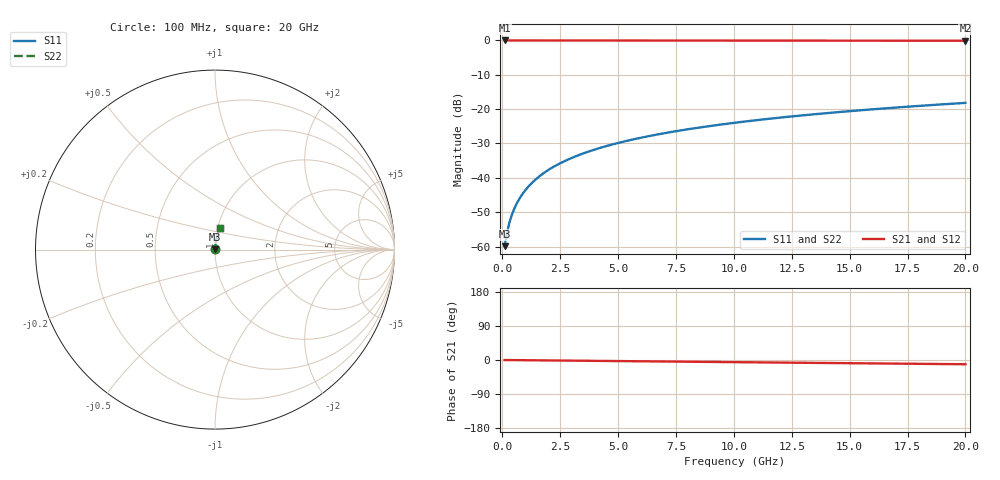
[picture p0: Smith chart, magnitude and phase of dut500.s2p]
! Touchstone file exported from HFSS 2026.1.0
!  File:  C:/ffzhzh/LocalFiles/Ansys_Project_Files/temp_train_BSMRDL_500_1783014174_53980.aedt
!  Generated:  01:44:15 AM Jul  3, 2026
!  Design:  BSMRDL
!  Project:  temp_train_BSMRDL_500_1783014174_53980
! Variables:
!  h_bsmrdl = 5.17um
!  h_ox = 20um
!  h_rdl = 5um
!  h_sub = 80um
!  h_tmrdl = 5um
!  h_tsv = 80um
!  h_via = 3um
!  l_bsmrdl = 128.48um
!  l_sub = 528.48um
!  l_tmrdl = 200um
!  m_sub = 200um
!  pitch = 40.29um
!  r_tsv = 6um
!  s_tmrdl = 10um
!  w_bsmrdl = 14.13um
!  w_sub = 500um
!  w_tmrdl = 12um
!  x_tsv_center1 = 206um
!  x_tsv_center2 = 348.61um
!  x_tsv_center3 = 560.61um
!  x_tsv_center4 = 703.22um
!  x_tsv_center5 = 915.22um
!  x_tsv_center6 = 1057.83um
# GHz S MA R 50.000000
! Terminal data exported
! Port[1] = BSM_RDL1_1_T1
! Port[2] = BSM_RDL1_1_T2
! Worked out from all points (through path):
!   200 points, 100 MHz to 20 GHz, reference 50 ohm
!   highest |S21| = -0.01 dB at 100 MHz (marker M1); lowest = -0.1 dB at 20 GHz (marker M2)
!   group delay of S21, straight-line fit = 1.55 ps
!   lowest |S11| = -59.9 dB at 100 MHz (marker M3), VSWR 1.00, Z = 50.1 + j0.069 ohm
!   |S11| at or under -10 dB: start of sweep to end of sweep
!   |S22| runs from -59.9 to -18.2 dB; largest |S21 - S12| = 6.1e-15
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0.1  0.001013 42.8  0.9993 -0.1  0.9993 -0.1  0.001013 42.8
! Gamma 0 0 0 0
! Port Impedance 50 0 50 0
0.2  0.001567 60.7  0.9992 -0.1  0.9992 -0.1  0.001567 60.7
0.3  0.002182 68.6  0.9992 -0.2  0.9992 -0.2  0.002182 68.6
0.4  0.002811 72.9  0.9992 -0.2  0.9992 -0.2  0.002811 72.9
0.5  0.003444 75.6  0.9992 -0.3  0.9992 -0.3  0.003444 75.6
0.6  0.00408 77.6  0.9991 -0.4  0.9991 -0.4  0.00408 77.6
0.8  0.005358 80.1  0.9991 -0.5  0.9991 -0.5  0.005358 80.1
1.1  0.007286 82.1  0.999 -0.6  0.999 -0.6  0.007286 82.1
1.5  0.009865 83.5  0.999 -0.9  0.999 -0.9  0.009865 83.5
1.8  0.0118 84.0  0.9989 -1.0  0.9989 -1.0  0.0118 84.0
2.1  0.01374 84.4  0.9988 -1.2  0.9988 -1.2  0.01374 84.4
2.7  0.01759 84.7  0.9987 -1.6  0.9987 -1.6  0.01759 84.7
3.5  0.0227 84.7  0.9984 -2.0  0.9984 -2.0  0.0227 84.7
4.2  0.02715 84.5  0.9982 -2.4  0.9982 -2.4  0.02715 84.5
5  0.03219 84.2  0.9979 -2.9  0.9979 -2.9  0.03219 84.2
5.9  0.03782 83.9  0.9975 -3.4  0.9975 -3.4  0.03782 83.9
6.8  0.04342 83.5  0.9971 -3.9  0.9971 -3.9  0.04342 83.5
8.3  0.05269 82.9  0.9964 -4.7  0.9964 -4.7  0.05269 82.9
10.1  0.06374 82.0  0.9955 -5.7  0.9955 -5.7  0.06374 82.0
13.4  0.08383 80.5  0.9936 -7.6  0.9936 -7.6  0.08383 80.5
16.7  0.1037 78.8  0.9914 -9.4  0.9914 -9.4  0.1037 78.8
20  0.1234 77.2  0.9888 -11.2  0.9888 -11.2  0.1234 77.2
